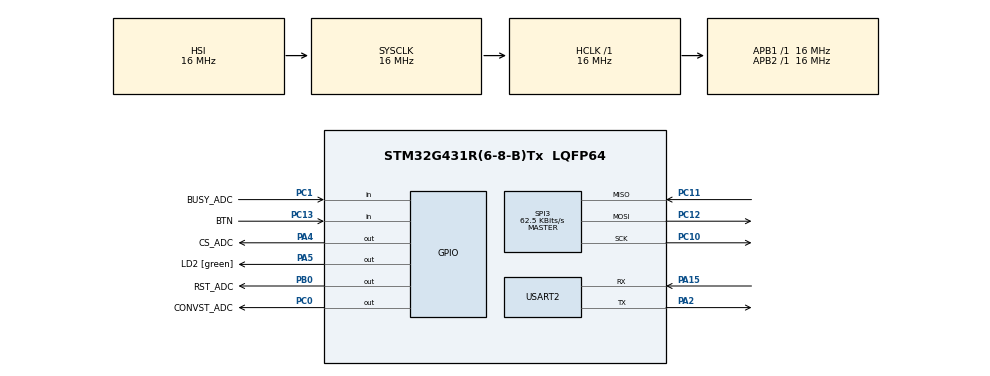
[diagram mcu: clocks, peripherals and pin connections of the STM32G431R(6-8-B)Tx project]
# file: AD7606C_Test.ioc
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Mcu.Family=STM32G4
Mcu.Name=STM32G431R(6-8-B)Tx
Mcu.Package=LQFP64
NVIC.PriorityGroup=NVIC_PRIORITYGROUP_4
PA13.GPIO_Label=T_SWDIO
PA13.Signal=SYS_JTMS-SWDIO
PA14.GPIO_Label=T_SWCLK
PA14.Signal=SYS_JTCK-SWCLK
PA15.Mode=Asynchronous
PA15.Signal=USART2_RX
PA2.Mode=Asynchronous
PA2.Signal=USART2_TX
PA3.GPIO_Label=LPUART1_RX [STLINKV3E_VCP_TX]
PA3.Signal=LPUART1_RX
PA4.GPIO_Label=CS_ADC
PA4.GPIO_PuPd=GPIO_PULLUP
PA4.GPIO_Speed=GPIO_SPEED_FREQ_HIGH
PA4.PinState=GPIO_PIN_SET
PA4.Signal=GPIO_Output
PA5.GPIO_Label=LD2 [green]
PA5.Signal=GPIO_Output
PB0.GPIO_Label=RST_ADC
PB0.GPIO_PuPd=GPIO_PULLDOWN
PB0.GPIO_Speed=GPIO_SPEED_FREQ_HIGH
PB0.PinState=GPIO_PIN_SET
PB0.Signal=GPIO_Output
PB3.GPIO_Label=T_SWO
PB3.Signal=SYS_JTDO-SWO
PC0.GPIO_Label=CONVST_ADC
PC0.GPIO_PuPd=GPIO_PULLDOWN
PC0.GPIO_Speed=GPIO_SPEED_FREQ_HIGH
PC0.PinState=GPIO_PIN_SET
PC0.Signal=GPIO_Output
PC1.GPIO_Label=BUSY_ADC
PC1.GPIO_PuPd=GPIO_PULLDOWN
PC1.Signal=GPIO_Input
PC10.Mode=Full_Duplex_Master
PC10.Signal=SPI3_SCK
PC11.Mode=Full_Duplex_Master
PC11.Signal=SPI3_MISO
PC12.Mode=Full_Duplex_Master
PC12.Signal=SPI3_MOSI
PC13.GPIO_Label=BTN
PC13.Signal=GPIO_Input
PC14-OSC32_IN.GPIO_Label=RCC_OSC32_OUT
PC14-OSC32_IN.Signal=RCC_OSC32_IN
PC15-OSC32_OUT.GPIO_Label=RCC_OSC32_OUT
PC15-OSC32_OUT.Signal=RCC_OSC32_OUT
PF0-OSC_IN.GPIO_Label=RCC_OSC_IN
PF0-OSC_IN.Signal=RCC_OSC_IN
PF1-OSC_OUT.GPIO_Label=RCC_OSC_OUT
PF1-OSC_OUT.Signal=RCC_OSC_OUT
ProjectManager.HeapSize=0x200
ProjectManager.StackSize=0x400
ProjectManager.TargetToolchain=STM32CubeIDE
RCC.ADC12Freq_Value=16000000
RCC.AHBFreq_Value=16000000
RCC.APB1Freq_Value=16000000
RCC.APB1TimFreq_Value=16000000
RCC.APB2Freq_Value=16000000
RCC.APB2TimFreq_Value=16000000
RCC.CortexFreq_Value=16000000
RCC.EXTERNAL_CLOCK_VALUE=12288000
RCC.HCLKFreq_Value=16000000
RCC.HSE_VALUE=24000000
RCC.HSI48_VALUE=48000000
RCC.HSI_VALUE=16000000
RCC.LSE_VALUE=32768
RCC.PLLM=RCC_PLLM_DIV4
RCC.PLLN=85
RCC.RTCClockSelection=RCC_RTCCLKSOURCE_LSE
RCC.SYSCLKFreq_VALUE=16000000
RCC.USBFreq_Value=170000000
RCC.VCOOutputFreq_Value=340000000
SPI3.BaudRatePrescaler=SPI_BAUDRATEPRESCALER_256
SPI3.CLKPhase=SPI_PHASE_1EDGE
SPI3.CLKPolarity=SPI_POLARITY_HIGH
SPI3.CalculateBaudRate=62.5 KBits/s
SPI3.DataSize=SPI_DATASIZE_16BIT
SPI3.Direction=SPI_DIRECTION_2LINES
SPI3.Mode=SPI_MODE_MASTER
SPI3.VirtualType=VM_MASTER
USART2.VirtualMode-Asynchronous=VM_ASYNC
VP_SYS_VS_DBSignals.Mode=DisableDeadBatterySignals
board=NUCLEO-G431RB

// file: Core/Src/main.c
/* USER CODE BEGIN Header */
/**
  ******************************************************************************
  * @file           : main.c
  * @brief          : Main program body
  ******************************************************************************
  * @attention
  *
  * Copyright (c) 2026 STMicroelectronics.
  * All rights reserved.
  *
  * This software is licensed under terms that can be found in the LICENSE file
  * in the root directory of this software component.
  * If no LICENSE file comes with this software, it is provided AS-IS.
  *
  ******************************************************************************
  */
/* USER CODE END Header */
#include "main.h"

/* USER CODE BEGIN Includes */
#include<string.h>
#include<stdio.h>
/* USER CODE END Includes */

SPI_HandleTypeDef hspi3;

UART_HandleTypeDef huart2;

/* USER CODE BEGIN PV */
AD7606C16_Handle_t ADC;
/* USER CODE END PV */

void SystemClock_Config(void);
static void MX_GPIO_Init(void);
static void MX_SPI3_Init(void);
static void MX_USART2_UART_Init(void);

int main(void)
{

  /* MCU Configuration--------------------------------------------------------*/

  /* Reset of all peripherals, Initializes the Flash interface and the Systick. */
  HAL_Init();

  /* Configure the system clock */
  SystemClock_Config();

  /* Initialize all configured peripherals */
  MX_GPIO_Init();
  MX_SPI3_Init();
  MX_USART2_UART_Init();
  /* USER CODE BEGIN 2 */
  ADC.hspi = &hspi3;
  ADC.CS_Port = GPIOA;
  ADC.CS_Pin = GPIO_PIN_4;
  ADC.RST_Port = GPIOB;
  ADC.RST_Pin = GPIO_PIN_0;
  ADC.CONVST_Port = GPIOC;
  ADC.CONVST_Pin = GPIO_PIN_0;
  ADC.BUSY_Port = GPIOC;
  ADC.BUSY_Pin = GPIO_PIN_1;
  ADC.Init.op_mode = AD7606C16_MODE_NORMAL;
  ADC.Init.dout_mode = AD7606C16_DOUTX_1;

  AD7606C16_Init(&ADC);
  uint16_t adc_data[8];
  double volt[8];
  uint8_t dada;

//  AD7606C16_Set_Digital_Diag(&ADC,AD7606_ERR_SPI_WRITE_ERR,ENABLE);
//  AD7606C16_Set_Digital_Diag(&ADC,AD7606_ERR_INT_CRC_ERR,ENABLE);
//  AD7606C16_Set_Digital_Diag(&ADC,AD7606_ERR_MM_CRC_ERR,ENABLE);
//  AD7606C16_Set_Digital_Diag(&ADC,AD7606_ERR_SPI_READ_ERR,ENABLE);
//  AD7606C16_Set_Digital_Diag(&ADC,AD7606_ERR_BUSY_STUCK_HIGH_ERR,ENABLE);

  char tx[32];
  /* USER CODE END 2 */

  /* Infinite loop */
  while (1)
  {

    /* USER CODE BEGIN 3 */

	  while(HAL_GPIO_ReadPin(GPIOC, GPIO_PIN_13) == 1)
	  {

		  HAL_Delay(100);
		  AD7606C16_Read_Reg(&ADC, AD7606_REG_RANGE_CH3_CH4,&dada);
		  sprintf(tx,"%x\r\n",dada);
		  HAL_UART_Transmit(&huart2,(uint8_t*)tx, strlen(tx), HAL_MAX_DELAY);
		  HAL_Delay(100);

		  AD7606_Get_Vltg_Value(&ADC,adc_data);
		  for(int i=0;i<8;i++)
		  {
			  volt[i] = adc_data[i]*(float)(10.0/32767.0);
			  //sprintf(tx, "CH%d = %f\r\n", i + 1, volt[i]);
			  sprintf(tx,"CH%d = %lf\r",i + 1,volt[i]);
			  //sprintf(tx,"CH%d = %ld\r",i + 1,adc_data[i]);
			  HAL_UART_Transmit(&huart2,(uint8_t *)tx,strlen(tx),HAL_MAX_DELAY);
		  }
	  }
  }
  /* USER CODE END 3 */
}

void SystemClock_Config(void)
{
  RCC_OscInitTypeDef RCC_OscInitStruct = {0};
  RCC_ClkInitTypeDef RCC_ClkInitStruct = {0};

  /** Configure the main internal regulator output voltage
  */
  HAL_PWREx_ControlVoltageScaling(PWR_REGULATOR_VOLTAGE_SCALE1);

  /** Initializes the RCC Oscillators according to the specified parameters
  * in the RCC_OscInitTypeDef structure.
  */
  RCC_OscInitStruct.OscillatorType = RCC_OSCILLATORTYPE_HSI;
  RCC_OscInitStruct.HSIState = RCC_HSI_ON;
  RCC_OscInitStruct.HSICalibrationValue = RCC_HSICALIBRATION_DEFAULT;
  RCC_OscInitStruct.PLL.PLLState = RCC_PLL_NONE;
  if (HAL_RCC_OscConfig(&RCC_OscInitStruct) != HAL_OK)
  {
    Error_Handler();
  }

  /** Initializes the CPU, AHB and APB buses clocks
  */
  RCC_ClkInitStruct.ClockType = RCC_CLOCKTYPE_HCLK|RCC_CLOCKTYPE_SYSCLK
                              |RCC_CLOCKTYPE_PCLK1|RCC_CLOCKTYPE_PCLK2;
  RCC_ClkInitStruct.SYSCLKSource = RCC_SYSCLKSOURCE_HSI;
  RCC_ClkInitStruct.AHBCLKDivider = RCC_SYSCLK_DIV1;
  RCC_ClkInitStruct.APB1CLKDivider = RCC_HCLK_DIV1;
  RCC_ClkInitStruct.APB2CLKDivider = RCC_HCLK_DIV1;

  if (HAL_RCC_ClockConfig(&RCC_ClkInitStruct, FLASH_LATENCY_0) != HAL_OK)
  {
    Error_Handler();
  }
}

static void MX_SPI3_Init(void)
{

  /* SPI3 parameter configuration*/
  hspi3.Instance = SPI3;
  hspi3.Init.Mode = SPI_MODE_MASTER;
  hspi3.Init.Direction = SPI_DIRECTION_2LINES;
  hspi3.Init.DataSize = SPI_DATASIZE_16BIT;
  hspi3.Init.CLKPolarity = SPI_POLARITY_HIGH;
  hspi3.Init.CLKPhase = SPI_PHASE_1EDGE;
  hspi3.Init.NSS = SPI_NSS_SOFT;
  hspi3.Init.BaudRatePrescaler = SPI_BAUDRATEPRESCALER_256;
  hspi3.Init.FirstBit = SPI_FIRSTBIT_MSB;
  hspi3.Init.TIMode = SPI_TIMODE_DISABLE;
  hspi3.Init.CRCCalculation = SPI_CRCCALCULATION_DISABLE;
  hspi3.Init.CRCPolynomial = 7;
  hspi3.Init.CRCLength = SPI_CRC_LENGTH_DATASIZE;
  hspi3.Init.NSSPMode = SPI_NSS_PULSE_ENABLE;
  if (HAL_SPI_Init(&hspi3) != HAL_OK)
  {
    Error_Handler();
  }

}

static void MX_USART2_UART_Init(void)
{

  huart2.Instance = USART2;
  huart2.Init.BaudRate = 115200;
  huart2.Init.WordLength = UART_WORDLENGTH_8B;
  huart2.Init.StopBits = UART_STOPBITS_1;
  huart2.Init.Parity = UART_PARITY_NONE;
  huart2.Init.Mode = UART_MODE_TX_RX;
  huart2.Init.HwFlowCtl = UART_HWCONTROL_NONE;
  huart2.Init.OverSampling = UART_OVERSAMPLING_16;
  huart2.Init.OneBitSampling = UART_ONE_BIT_SAMPLE_DISABLE;
  huart2.Init.ClockPrescaler = UART_PRESCALER_DIV1;
  huart2.AdvancedInit.AdvFeatureInit = UART_ADVFEATURE_NO_INIT;
  if (HAL_UART_Init(&huart2) != HAL_OK)
  {
    Error_Handler();
  }
  if (HAL_UARTEx_SetTxFifoThreshold(&huart2, UART_TXFIFO_THRESHOLD_1_8) != HAL_OK)
  {
    Error_Handler();
  }
  if (HAL_UARTEx_SetRxFifoThreshold(&huart2, UART_RXFIFO_THRESHOLD_1_8) != HAL_OK)
  {
    Error_Handler();
  }
  if (HAL_UARTEx_DisableFifoMode(&huart2) != HAL_OK)
  {
    Error_Handler();
  }

}

static void MX_GPIO_Init(void)
{
  GPIO_InitTypeDef GPIO_InitStruct = {0};

  /* GPIO Ports Clock Enable */
  __HAL_RCC_GPIOC_CLK_ENABLE();
  __HAL_RCC_GPIOF_CLK_ENABLE();
  __HAL_RCC_GPIOA_CLK_ENABLE();
  __HAL_RCC_GPIOB_CLK_ENABLE();

  /*Configure GPIO pin Output Level */
  HAL_GPIO_WritePin(CONVST_ADC_GPIO_Port, CONVST_ADC_Pin, GPIO_PIN_SET);

  /*Configure GPIO pin Output Level */
  HAL_GPIO_WritePin(CS_ADC_GPIO_Port, CS_ADC_Pin, GPIO_PIN_SET);

  /*Configure GPIO pin Output Level */
  HAL_GPIO_WritePin(LD2_GPIO_Port, LD2_Pin, GPIO_PIN_RESET);

  /*Configure GPIO pin Output Level */
  HAL_GPIO_WritePin(RST_ADC_GPIO_Port, RST_ADC_Pin, GPIO_PIN_SET);

  /*Configure GPIO pin : BTN_Pin */
  GPIO_InitStruct.Pin = BTN_Pin;
  GPIO_InitStruct.Mode = GPIO_MODE_INPUT;
  GPIO_InitStruct.Pull = GPIO_NOPULL;
  HAL_GPIO_Init(BTN_GPIO_Port, &GPIO_InitStruct);

  /*Configure GPIO pin : CONVST_ADC_Pin */
  GPIO_InitStruct.Pin = CONVST_ADC_Pin;
  GPIO_InitStruct.Mode = GPIO_MODE_OUTPUT_PP;
  GPIO_InitStruct.Pull = GPIO_PULLDOWN;
  GPIO_InitStruct.Speed = GPIO_SPEED_FREQ_HIGH;
  HAL_GPIO_Init(CONVST_ADC_GPIO_Port, &GPIO_InitStruct);

  /*Configure GPIO pin : BUSY_ADC_Pin */
  GPIO_InitStruct.Pin = BUSY_ADC_Pin;
  GPIO_InitStruct.Mode = GPIO_MODE_INPUT;
  GPIO_InitStruct.Pull = GPIO_PULLDOWN;
  HAL_GPIO_Init(BUSY_ADC_GPIO_Port, &GPIO_InitStruct);

  /*Configure GPIO pin : LPUART1_RX_Pin */
  GPIO_InitStruct.Pin = LPUART1_RX_Pin;
  GPIO_InitStruct.Mode = GPIO_MODE_AF_PP;
  GPIO_InitStruct.Pull = GPIO_NOPULL;
  GPIO_InitStruct.Speed = GPIO_SPEED_FREQ_LOW;
  GPIO_InitStruct.Alternate = GPIO_AF12_LPUART1;
  HAL_GPIO_Init(LPUART1_RX_GPIO_Port, &GPIO_InitStruct);

  /*Configure GPIO pin : CS_ADC_Pin */
  GPIO_InitStruct.Pin = CS_ADC_Pin;
  GPIO_InitStruct.Mode = GPIO_MODE_OUTPUT_PP;
  GPIO_InitStruct.Pull = GPIO_PULLUP;
  GPIO_InitStruct.Speed = GPIO_SPEED_FREQ_HIGH;
  HAL_GPIO_Init(CS_ADC_GPIO_Port, &GPIO_InitStruct);

  /*Configure GPIO pin : LD2_Pin */
  GPIO_InitStruct.Pin = LD2_Pin;
  GPIO_InitStruct.Mode = GPIO_MODE_OUTPUT_PP;
  GPIO_InitStruct.Pull = GPIO_NOPULL;
  GPIO_InitStruct.Speed = GPIO_SPEED_FREQ_LOW;
  HAL_GPIO_Init(LD2_GPIO_Port, &GPIO_InitStruct);

  /*Configure GPIO pin : RST_ADC_Pin */
  GPIO_InitStruct.Pin = RST_ADC_Pin;
  GPIO_InitStruct.Mode = GPIO_MODE_OUTPUT_PP;
  GPIO_InitStruct.Pull = GPIO_PULLDOWN;
  GPIO_InitStruct.Speed = GPIO_SPEED_FREQ_HIGH;
  HAL_GPIO_Init(RST_ADC_GPIO_Port, &GPIO_InitStruct);

}

void Error_Handler(void)
{
  __disable_irq();
  while (1)
  {
  }
}
